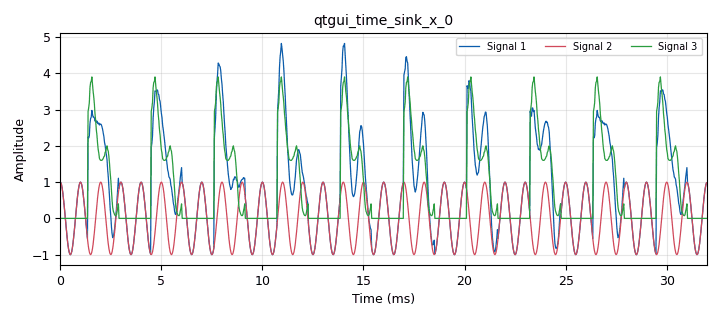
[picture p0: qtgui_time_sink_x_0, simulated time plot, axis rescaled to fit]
options:
  parameters:
    generate_options: qt_gui
    id: Arithmatic
    output_language: python
    title: Not titled yet
  states: {}

blocks:
- name: Leopard
  id: variable
  parameters:
    value: '[0]*20+[2.95, 3.05, 3.2, 3.6, 3.75, 3.775, 3.9, 3.7, 3.5, 3.35, 3.15, 2.875, 2.7, 2.45, 2.3, 2.075, 1.9, 1.8, 1.65, 1.62, 1.6, 1.6, 1.6, 1.625, 1.65, 1.7, 1.72, 1.82, 1.85, 1.95, 2.0, 1.9, 1.85, 1.7, 1.5, 1.25, 1.05, 0.75, 0.5, 0.3, 0.2, 0.15, 0.1, 0.08, 0.075, 0.1, 0.2, 0.28, 0.4]+31*[0]'
  states: {}
- name: alpha
  id: variable_qtgui_range
  parameters:
    orient: Qt.Horizontal
    start: '0'
    step: '0.1'
    stop: '1'
    value: '1'
  states: {}
- name: samp_rate
  id: variable
  parameters:
    value: '32000'
  states: {}
- name: vardelay
  id: variable_qtgui_range
  parameters:
    orient: Qt.Horizontal
    start: '0'
    step: '5'
    stop: '25'
    value: '0'
  states: {}
- name: analog_sig_source_x_0
  id: analog_sig_source_x
  parameters:
    amp: '1'
    freq: '1000'
    offset: '0'
    phase: '0'
    samp_rate: samp_rate
    type: float
    waveform: analog.GR_COS_WAVE
  states: {}
- name: blocks_add_xx_0
  id: blocks_add_xx
  parameters:
    type: float
  states: {}
- name: blocks_delay_0
  id: blocks_delay
  parameters:
    delay: '0'
    type: float
  states: {}
- name: blocks_multiply_const_vxx_0
  id: blocks_multiply_const_vxx
  parameters:
    const: '1'
    type: float
  states: {}
- name: blocks_vector_source_x_0
  id: blocks_vector_source_x
  parameters:
    repeat: 'True'
    type: float
    vector: Leopard
  states: {}
- name: qtgui_time_sink_x_0
  id: qtgui_time_sink_x
  parameters:
    nconnections: '3'
    size: '1024'
    srate: samp_rate
    type: float
  states: {}

connections:
- [analog_sig_source_x_0, '0', blocks_multiply_const_vxx_0, '0']
- [blocks_add_xx_0, '0', qtgui_time_sink_x_0, '0']
- [blocks_delay_0, '0', blocks_add_xx_0, '1']
- [blocks_delay_0, '0', qtgui_time_sink_x_0, '2']
- [blocks_multiply_const_vxx_0, '0', blocks_add_xx_0, '0']
- [blocks_multiply_const_vxx_0, '0', qtgui_time_sink_x_0, '1']
- [blocks_vector_source_x_0, '0', blocks_delay_0, '0']

metadata:
  file_format: 1
